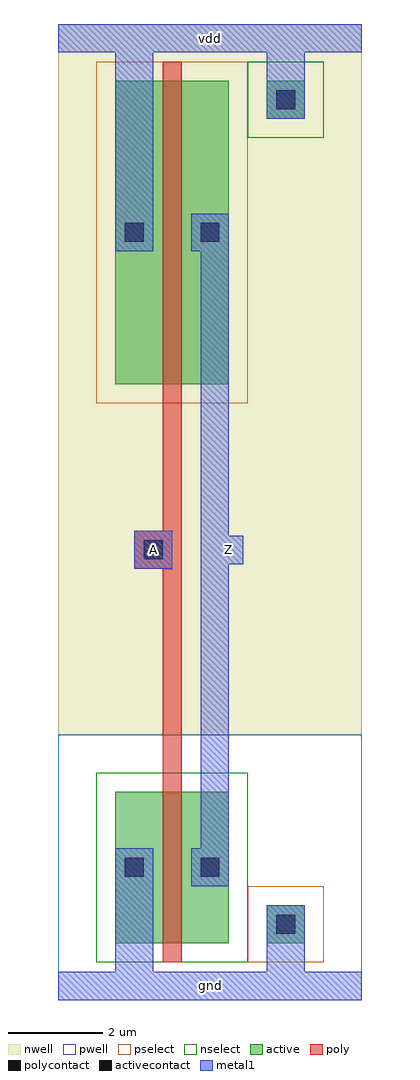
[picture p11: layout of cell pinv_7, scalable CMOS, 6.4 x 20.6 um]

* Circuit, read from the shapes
.subckt pinv_7 A Z gnd vdd
M1 Z A gnd gnd nfet w=3.2u l=0.4u
M2 Z A vdd vdd pfet w=6.4u l=0.4u
.ends

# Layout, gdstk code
import gdstk
lib = gdstk.Library(unit=1e-6, precision=1e-09)
def R(c, l, rs):  # rectangles x0, y0, x1, y1
    for r in rs: c.add(gdstk.rectangle(r[:2], r[2:], *l))
pwell = (41, 0)
nwell = (42, 0)
active = (43, 0)
pselect = (44, 0)
nselect = (45, 0)
poly = (46, 0)
polycontact = (47, 0)
activecontact = (48, 0)
metal1 = (49, 0)

active_contact_metal1_1x = lib.new_cell('active_contact_metal1_1x1_pn')
R(active_contact_metal1_1x, nwell, [(-1.2,-1.2,2,2)])
R(active_contact_metal1_1x, active, [(0,0,0.8,0.8)])
R(active_contact_metal1_1x, pselect, [(-0.4,-0.4,1.2,1.2)])
R(active_contact_metal1_1x, activecontact, [(0.2,0.2,0.6,0.6)])
R(active_contact_metal1_1x, metal1, [(0,0,0.8,0.8)])

pmos_m1_w6_4_a_p = lib.new_cell('pmos_m1_w6_4_a_p')
R(pmos_m1_w6_4_a_p, nwell, [(-1.2,-1.2,3.6,7.6)])
R(pmos_m1_w6_4_a_p, active, [(0,0,2.4,6.4)])
R(pmos_m1_w6_4_a_p, pselect, [(-0.4,-0.4,2.8,6.8)])
R(pmos_m1_w6_4_a_p, poly, [(1,-0.4,1.4,6.8), (1,-0.4,1.4,6.8)])
R(pmos_m1_w6_4_a_p, metal1, [(0,2.8,0.8,3.6), (1.6,2.8,2.4,3.6)])
pmos_m1_w6_4_a_p.add(gdstk.Reference(active_contact_metal1_1x, (0,2.8)))
pmos_m1_w6_4_a_p.add(gdstk.Reference(active_contact_metal1_1x, (1.6,2.8)))
pmos_m1_w6_4_a_p.add(gdstk.Label('G', (1.2,3.2), layer=46, texttype=0))
pmos_m1_w6_4_a_p.add(gdstk.Label('S', (0.4,3.2), layer=49, texttype=0))
pmos_m1_w6_4_a_p.add(gdstk.Label('D', (2,3.2), layer=49, texttype=0))

c_active_contact_metal1_1x = lib.new_cell('active_contact_metal1_1x1_np')
R(c_active_contact_metal1_1x, pwell, [(-1.2,-1.2,2,2)])
R(c_active_contact_metal1_1x, active, [(0,0,0.8,0.8)])
R(c_active_contact_metal1_1x, nselect, [(-0.4,-0.4,1.2,1.2)])
R(c_active_contact_metal1_1x, activecontact, [(0.2,0.2,0.6,0.6)])
R(c_active_contact_metal1_1x, metal1, [(0,0,0.8,0.8)])

nmos_m1_w3_2_a_p = lib.new_cell('nmos_m1_w3_2_a_p')
R(nmos_m1_w3_2_a_p, pwell, [(-1.2,-1.2,3.6,4.4)])
R(nmos_m1_w3_2_a_p, active, [(0,0,2.4,3.2)])
R(nmos_m1_w3_2_a_p, nselect, [(-0.4,-0.4,2.8,3.6)])
R(nmos_m1_w3_2_a_p, poly, [(1,-0.4,1.4,3.6), (1,-0.4,1.4,3.6)])
R(nmos_m1_w3_2_a_p, metal1, [(0,1.2,0.8,2), (1.6,1.2,2.4,2)])
nmos_m1_w3_2_a_p.add(gdstk.Reference(c_active_contact_metal1_1x, (0,1.2)))
nmos_m1_w3_2_a_p.add(gdstk.Reference(c_active_contact_metal1_1x, (1.6,1.2)))
nmos_m1_w3_2_a_p.add(gdstk.Label('G', (1.2,1.6), layer=46, texttype=0))
nmos_m1_w3_2_a_p.add(gdstk.Label('S', (0.4,1.6), layer=49, texttype=0))
nmos_m1_w3_2_a_p.add(gdstk.Label('D', (2,1.6), layer=49, texttype=0))

c_active_contact_metal1_1x_ = lib.new_cell('active_contact_metal1_1x1_nn')
R(c_active_contact_metal1_1x_, nwell, [(-1.2,-1.2,2,2)])
R(c_active_contact_metal1_1x_, active, [(0,0,0.8,0.8)])
R(c_active_contact_metal1_1x_, nselect, [(-0.4,-0.4,1.2,1.2)])
R(c_active_contact_metal1_1x_, activecontact, [(0.2,0.2,0.6,0.6)])
R(c_active_contact_metal1_1x_, metal1, [(0,0,0.8,0.8)])

c_active_contact_metal1_1x__ = lib.new_cell('active_contact_metal1_1x1_pp')
R(c_active_contact_metal1_1x__, pwell, [(-1.2,-1.2,2,2)])
R(c_active_contact_metal1_1x__, active, [(0,0,0.8,0.8)])
R(c_active_contact_metal1_1x__, pselect, [(-0.4,-0.4,1.2,1.2)])
R(c_active_contact_metal1_1x__, activecontact, [(0.2,0.2,0.6,0.6)])
R(c_active_contact_metal1_1x__, metal1, [(0,0,0.8,0.8)])

poly_contact_metal1_1x1 = lib.new_cell('poly_contact_metal1_1x1')
R(poly_contact_metal1_1x1, poly, [(0,0,0.8,0.8)])
R(poly_contact_metal1_1x1, polycontact, [(0.2,0.2,0.6,0.6)])
R(poly_contact_metal1_1x1, metal1, [(0,0,0.8,0.8)])

pinv_7 = lib.new_cell('pinv_7')
R(pinv_7, pwell, [(0,-0.3,6.4,5.3)])
R(pinv_7, nwell, [(0,5.3,6.4,20.3)])
R(pinv_7, poly, [(2.2,0.5,2.6,12.3), (2,8.8,2.2,9.6)])
R(pinv_7, metal1, [(0,-0.3,6.4,0.3), (1.2,-0.3,2,2.1), (4.4,0,5.2,1.3), (3,2.1,3.6,15.5), (1.6,8.8,2.4,9.6), (3.3,8.9,3.9,9.5), (1.2,15.5,2,20.3), (4.4,18.7,5.2,20), (0,19.7,6.4,20.3)])
pinv_7.add(gdstk.Reference(pmos_m1_w6_4_a_p, (1.2,12.7)))
pinv_7.add(gdstk.Reference(nmos_m1_w3_2_a_p, (1.2,0.9)))
pinv_7.add(gdstk.Reference(c_active_contact_metal1_1x_, (4.4,18.3)))
pinv_7.add(gdstk.Reference(c_active_contact_metal1_1x__, (4.4,0.9)))
pinv_7.add(gdstk.Reference(poly_contact_metal1_1x1, (1.6,8.8)))
pinv_7.add(gdstk.Label('gnd', (3.2,0), layer=49, texttype=0))
pinv_7.add(gdstk.Label('vdd', (3.2,20), layer=49, texttype=0))
pinv_7.add(gdstk.Label('A', (2,9.2), layer=49, texttype=0))
pinv_7.add(gdstk.Label('Z', (3.6,9.2), layer=49, texttype=0))

lib.write_gds('pinv_7.gds')
